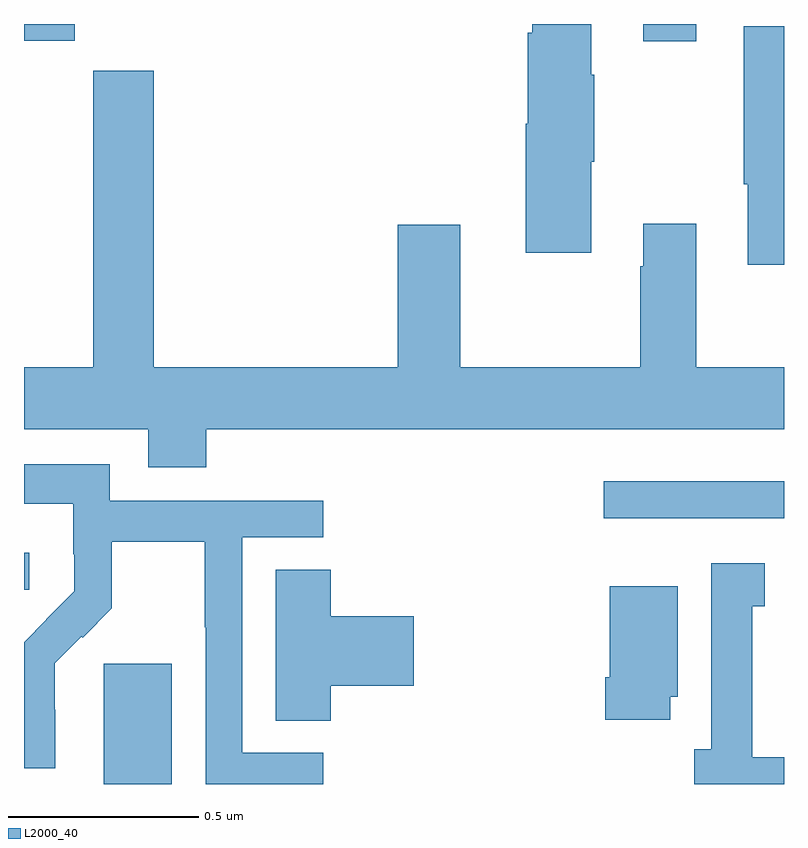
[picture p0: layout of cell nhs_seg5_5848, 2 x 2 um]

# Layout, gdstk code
import gdstk
lib = gdstk.Library(unit=1e-6, precision=1e-09)
def R(c, l, rs):  # rectangles x0, y0, x1, y1
    for r in rs: c.add(gdstk.rectangle(r[:2], r[2:], *l))
def P(c, l, *ps):  # polygons
    for p in ps: c.add(gdstk.Polygon(p, *l))
L2000_40 = (2000, 40)

nhs_seg5_5848 = lib.new_cell('nhs_seg5_5848')
R(nhs_seg5_5848, L2000_40, [(188.21,883.799,188.389,884.115), (188,884.31,188.014,884.407), (189.525,884.499,190,884.596), (189.629,885.753,189.769,885.799), (188,885.755,188.134,885.799)])
P(nhs_seg5_5848, L2000_40, [(189.493,885.437),(189.501,885.437),(189.501,885.665),(189.493,885.665),(189.493,885.799),(189.338,885.799),(189.338,885.776),(189.326,885.776),(189.326,885.537),(189.32,885.537),(189.32,885.197),(189.493,885.197)],
  [(190,885.793),(189.894,885.793),(189.894,885.377),(189.905,885.377),(189.905,885.165),(190,885.165)],
  [(188.48,884.732),(190,884.732),(190,884.896),(189.769,884.896),(189.769,885.274),(189.629,885.274),(189.629,885.161),(189.622,885.161),(189.622,884.896),(189.148,884.896),(189.148,885.271),(188.984,885.271),(188.984,884.896),(188.342,884.896),(188.342,885.676),(188.182,885.676),(188.182,884.896),(188,884.896),(188,884.732),(188.327,884.732),(188.327,884.633),(188.48,884.633)],
  [(188.788,883.881),(188.574,883.881),(188.574,884.448),(188.788,884.448),(188.788,884.544),(188.226,884.544),(188.226,884.641),(188,884.641),(188,884.537),(188.13,884.537),(188.13,884.403),(188.132,884.403),(188.132,884.306),(188.058,884.232),(188.059,884.231),(188,884.172),(188,883.84),(188.082,883.84),(188.082,883.994),(188.081,883.994),(188.081,884.117),(188.151,884.187),(188.154,884.184),(188.231,884.261),(188.231,884.436),(188.476,884.436),(188.476,884.212),(188.478,884.212),(188.478,883.799),(188.788,883.799)],
  [(190,883.87),(189.916,883.87),(189.916,884.267),(189.949,884.267),(189.949,884.38),(189.809,884.38),(189.809,883.89),(189.764,883.89),(189.764,883.799),(190,883.799)],
  [(188.807,884.057),(189.025,884.057),(189.025,884.24),(188.807,884.24),(188.807,884.363),(188.663,884.363),(188.663,883.966),(188.807,883.966)],
  [(189.7,884.028),(189.721,884.028),(189.721,884.32),(189.542,884.32),(189.542,884.08),(189.53,884.08),(189.53,883.968),(189.7,883.968)])

lib.write_gds('nhs_seg5_5848.gds')
